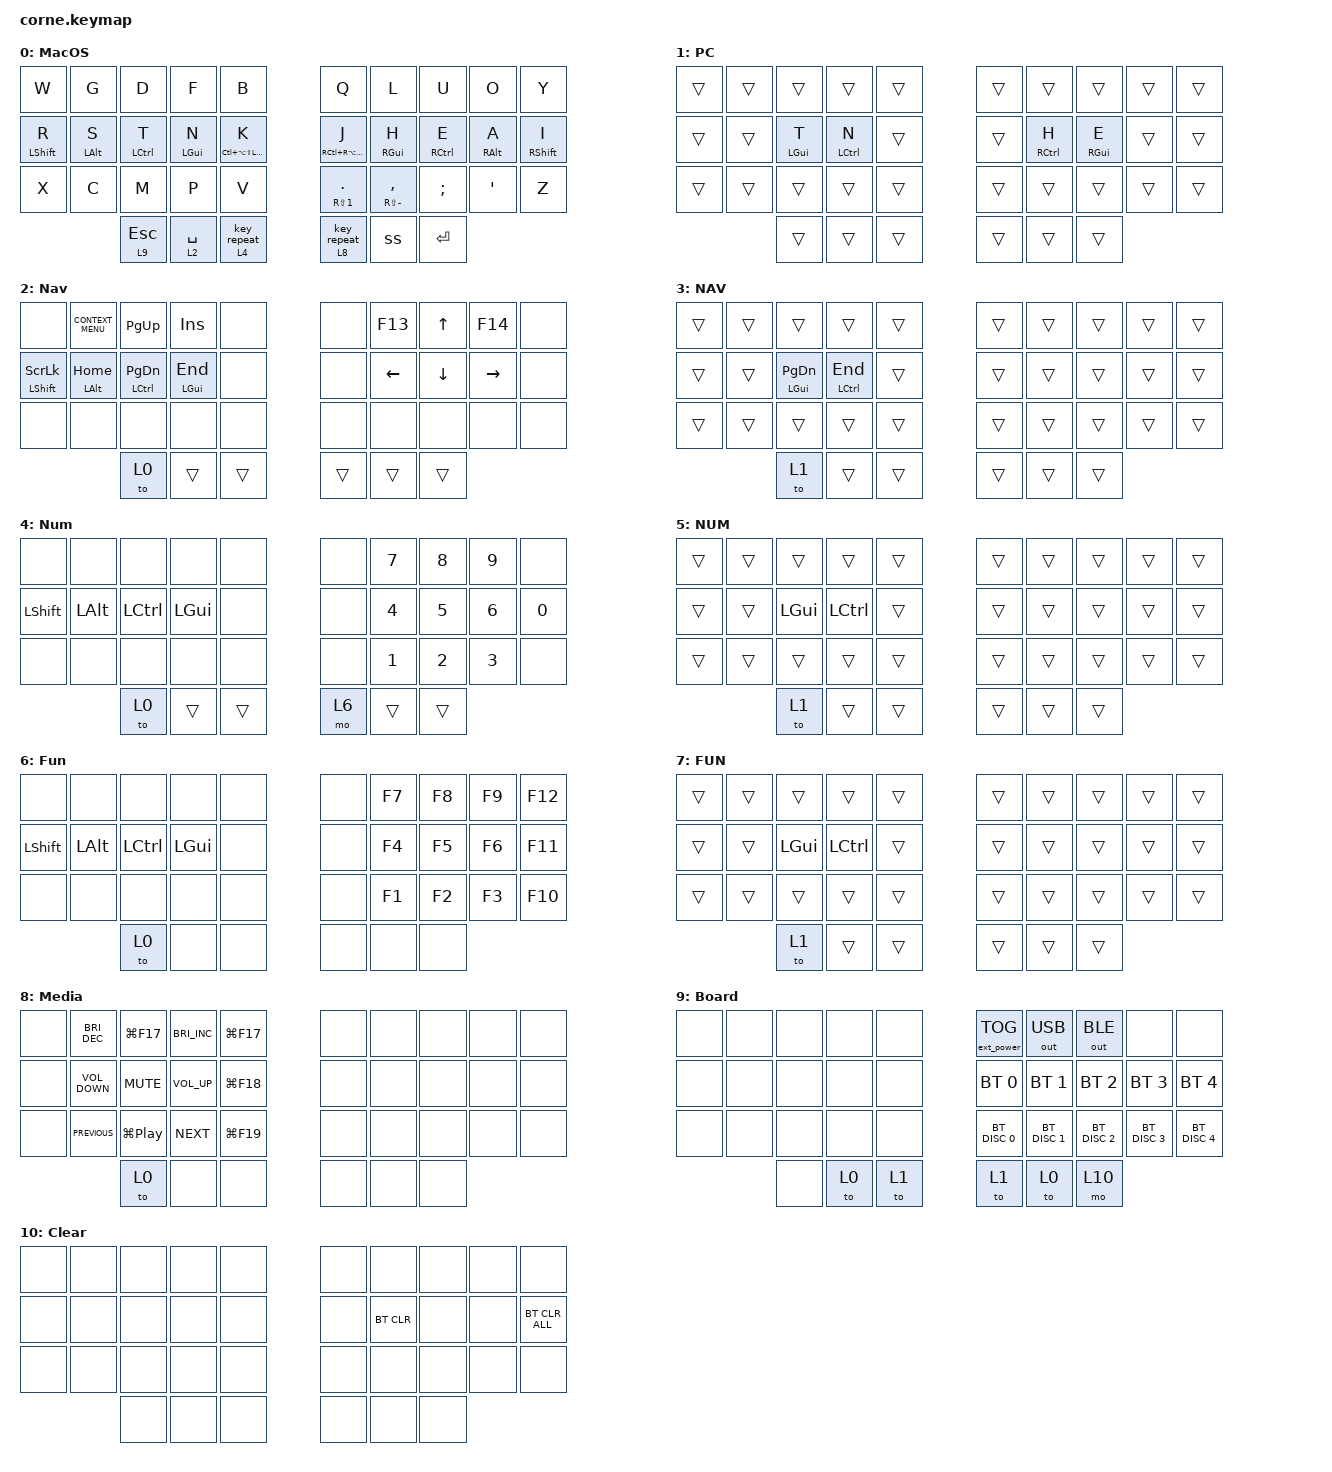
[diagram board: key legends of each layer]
/*
 * Copyright (c) 2020 The ZMK Contributors
 *
 * SPDX-License-Identifier: MIT
 */

#include <behaviors.dtsi>
#include <dt-bindings/zmk/bt.h>
#include <dt-bindings/zmk/ext_power.h>
#include <dt-bindings/zmk/keys.h>
#include <dt-bindings/zmk/outputs.h>

#define DEFAULT_L 0

#include "zmk-helpers/key-labels/36.h"                                      // Source key-labels.

#define KEYS_L LT0 LT1 LT2 LT3 LT4 LM0 LM1 LM2 LM3 LM4 LB0 LB1 LB2 LB3 LB4  // Left-hand keys.
#define KEYS_R RT0 RT1 RT2 RT3 RT4 RM0 RM1 RM2 RM3 RM4 RB0 RB1 RB2 RB3 RB4  // Right-hand keys.
#define THUMBS LH2 LH1 LH0 RH0 RH1 RH2                                      // Thumb keys.

/ {
    chosen { zmk,matrix_transform = &five_column_transform; };

    behaviors {
        hm: homerow_mod {
            compatible = "zmk,behavior-hold-tap";
            label = "Homerow Mod";
            #binding-cells = <2>;
            tapping-term-ms = <150>;
            flavor = "tap-preferred";
            bindings = <&kp>, <&kp>;

            quick-tap-ms = <200>;
            retro-tap;
        };

        hml: homerow_mod_left {
            compatible = "zmk,behavior-hold-tap";
            label = "Homerow Mod Left";
            #binding-cells = <2>;
            flavor = "balanced";
            bindings = <&kp>, <&kp>;

            tapping-term-ms = <280>;
            quick-tap-ms = <175>;
            require-prior-idle-ms = <150>;
            hold-trigger-key-positions = <KEYS_R THUMBS>;
            hold-trigger-on-release;
        };

        hmr: homerow_mod_right {
            compatible = "zmk,behavior-hold-tap";
            label = "Homerow Mod Right";
            #binding-cells = <2>;
            flavor = "balanced";
            bindings = <&kp>, <&kp>;

            tapping-term-ms = <280>;
            quick-tap-ms = <175>;
            require-prior-idle-ms = <150>;
            hold-trigger-key-positions = <KEYS_L THUMBS>;
            hold-trigger-on-release;
        };

        htc: hold_tap_combo {
            compatible = "zmk,behavior-hold-tap";
            label = "Hold-Tap combo";
            bindings = <&kp>, <&kp>;

            #binding-cells = <2>;
            tapping-term-ms = <200>;
            require-prior-idle-ms = <30>;
            flavor = "tap-preferred";
        };

        lts: layer_tap_sticky {
            compatible = "zmk,behavior-hold-tap";
            label = "Layer-Tap Sticky";
            bindings = <&mo>, <&sk>;

            #binding-cells = <2>;
            tapping-term-ms = <200>;
        };

        ss: super_shift {
            compatible = "zmk,behavior-tap-dance";
            label = "Super Shift";
            #binding-cells = <0>;
            bindings = <&lts 2 LEFT_SHIFT>, <&caps_word>, <&kp CAPSLOCK>;
        };

        hal: hold_arcane_left {
            compatible = "zmk,behavior-hold-tap";
            label = "Hold-Arcane Left";
            bindings = <&mo>, <&key_repeat>;

            #binding-cells = <2>;
            tapping-term-ms = <200>;
        };

        har: hold_arcane_right {
            compatible = "zmk,behavior-hold-tap";
            label = "Hold-Arcane Right";
            bindings = <&mo>, <&key_repeat>;

            #binding-cells = <2>;
            tapping-term-ms = <200>;
        };
    };

    macros {
        hyper: aacute {
            compatible = "zmk,behavior-macro";
            label = "AACUTE";
            #binding-cells = <0>;
            bindings = <&kp LC(LA(LS(LEFT_GUI)))>;
        };

        eacute: eacute {
            compatible = "zmk,behavior-macro";
            label = "EACUTE";
            #binding-cells = <0>;
            bindings = <&none &kp E>;
        };

        iacute: iacute {
            compatible = "zmk,behavior-macro";
            label = "IACUTE";
            #binding-cells = <0>;
            bindings = <&none &kp I>;
        };

        oacute: oacute {
            compatible = "zmk,behavior-macro";
            label = "OACUTE";
            #binding-cells = <0>;
            bindings = <&none &kp O>;
        };

        uacute: uacute {
            compatible = "zmk,behavior-macro";
            label = "UACUTE";
            #binding-cells = <0>;
            bindings = <&none &kp U>;
        };

        acirc: acirc {
            compatible = "zmk,behavior-macro";
            label = "ACIRC";
            #binding-cells = <0>;
            bindings = <&none &kp A>;
        };

        ecirc: ecirc {
            compatible = "zmk,behavior-macro";
            label = "ECIRC";
            #binding-cells = <0>;
            bindings = <&none &kp E>;
        };

        icirc: icirc {
            compatible = "zmk,behavior-macro";
            label = "ICIRC";
            #binding-cells = <0>;
            bindings = <&none &kp I>;
        };

        ocirc: ocirc {
            compatible = "zmk,behavior-macro";
            label = "OCIRC";
            #binding-cells = <0>;
            bindings = <&none &kp O>;
        };

        ucirc: ucirc {
            compatible = "zmk,behavior-macro";
            label = "UCIRC";
            #binding-cells = <0>;
            bindings = <&none &kp U>;
        };

        atilde: atilde {
            compatible = "zmk,behavior-macro";
            label = "ATILDE";
            #binding-cells = <0>;
            bindings = <&none &kp A>;
        };

        otilde: otilde {
            compatible = "zmk,behavior-macro";
            label = "OTILDE";
            #binding-cells = <0>;
            bindings = <&none &kp O>;
        };

        ao: ao {
            compatible = "zmk,behavior-macro";
            label = "AO";
            #binding-cells = <0>;
            bindings = <&none &kp A &kp O>;
        };

        oes: oes {
            compatible = "zmk,behavior-macro";
            label = "OES";
            #binding-cells = <0>;
            bindings = <&none &kp O &kp E &kp S>;
        };

        vim_word: vim_word {
            compatible = "zmk,behavior-macro";
            label = "VIM_WORD";
            #binding-cells = <0>;
            bindings = <&kp LA(RIGHT) &kp LA(RIGHT) &kp LA(LEFT)>;
        };

        previous_line_enter: previous_line_enter {
            compatible = "zmk,behavior-macro";
            label = "PREVIOUS_LINE_ENTER";
            #binding-cells = <0>;
            bindings = <&kp LG(LEFT) &kp LS(ENTER) &kp LEFT>;
        };

        vim_I: vim_I {
            compatible = "zmk,behavior-macro";
            label = "VIM_I";
            #binding-cells = <0>;
            bindings = <&kp LG(LEFT_ARROW) &to 0>;
        };

        aes: aes {
            compatible = "zmk,behavior-macro";
            label = "AES";
            #binding-cells = <0>;
            bindings = <&none &kp A &kp E &kp S>;
        };

        esc_0: esc_0 {
            compatible = "zmk,behavior-macro";
            label = "ESC_0";
            #binding-cells = <0>;
            bindings = <&to 0 &kp ESCAPE>;
        };

        next_line_enter: next_line_enter {
            compatible = "zmk,behavior-macro";
            label = "NEXT_LINE_ENTER";
            #binding-cells = <0>;
            bindings = <&kp LG(RIGHT) &kp ENTER>;
        };

        thic_arrow: thic_arrow {
            compatible = "zmk,behavior-macro";
            #binding-cells = <0>;
            bindings = <&kp EQUAL &kp GT>;
            label = "THIC_ARROW";
        };

        thin_arrow: thin_arrow {
            compatible = "zmk,behavior-macro";
            #binding-cells = <0>;
            bindings = <&kp MINUS &kp GT>;
            label = "THIN_ARROW";
        };

        agrave: agrave {
            compatible = "zmk,behavior-macro";
            #binding-cells = <0>;
            bindings = <&none &kp A>;
            label = "AGRAVE";
        };

        gte: gte {
            compatible = "zmk,behavior-macro";
            #binding-cells = <0>;
            bindings = <&kp GT &kp EQUAL>;
            label = "GTE";
        };

        lte: lte {
            compatible = "zmk,behavior-macro";
            #binding-cells = <0>;
            bindings = <&kp LT &kp EQUAL>;
            label = "LTE";
        };
    };

    combos {
        compatible = "zmk,combos";

        combo_euro_dollar {
            bindings = <&htc RA(NUMBER_4) RS(NUMBER_4)>;
            key-positions = <4 14>;
            layers = <0 4>;
        };

        combo_pc_euro_dollar {
            bindings = <&htc RA(NUMBER_4) RA(E)>;
            key-positions = <4 14>;
            layers = <1 5>;
        };

        combo_at_caret {
            bindings = <&htc RS(RIGHT_BRACKET) RA(NUMBER_2)>;
            key-positions = <14 24>;
            layers = <0 4 1 5>;
        };

        combo_colon_semicolon {
            bindings = <&htc RS(COMMA) RS(PERIOD)>;
            key-positions = <3 13>;
            layers = <0 4 1 5>;
        };

        combo_apostrophe_quote {
            bindings = <&htc RS(NUMBER_2) BACKSLASH>;
            key-positions = <13 23>;
            layers = <0 4 1 5>;
        };

        combo_plus_equals {
            bindings = <&htc RS(NUMBER_0) MINUS>;
            key-positions = <12 2>;
            layers = <0 4 1 5>;
        };

        combo_minus_underscore {
            bindings = <&htc RS(SLASH) SLASH>;
            key-positions = <12 22>;
            layers = <0 4 1 5>;
        };

        combo_asterisk_percentage {
            bindings = <&htc RS(NUMBER_5) RS(BACKSLASH)>;
            key-positions = <1 11>;
            layers = <0 4 1 5>;
        };

        combo_slash_backslash {
            bindings = <&htc RS(RA(NUMBER_7)) RS(NUMBER_7)>;
            key-positions = <11 21>;
            layers = <0 4>;
        };

        combo_pc_slash_backslash {
            bindings = <&htc RA(EQUAL) RS(NUMBER_7)>;
            key-positions = <11 21>;
            layers = <1 5>;
        };

        combo_ampersand_hash {
            bindings = <&htc RS(NUMBER_3) RS(NUMBER_6)>;
            key-positions = <5 15>;
            layers = <0 4 1 5>;
        };

        combo_tilde_pipe {
            bindings = <&htc RA(NUMBER_7) RA(RIGHT_BRACKET)>;
            key-positions = <15 25>;
            layers = <0 4>;
        };

        combo_pc_tilde_pipe {
            bindings = <&htc RA(BACKSLASH) RA(RIGHT_BRACKET)>;
            key-positions = <15 25>;
            layers = <1 5>;
        };

        combo_left_parenth_brace {
            bindings = <&htc RS(RA(NUMBER_8)) RS(NUMBER_8)>;
            key-positions = <6 16>;
            layers = <0 4>;
        };

        combo_pc_left_parenth_brace {
            bindings = <&htc RA(NUMBER_7) RS(NUMBER_8)>;
            key-positions = <16 6>;
            layers = <1 5>;
        };

        combo_left_bracket_lesser {
            bindings = <&htc GRAVE RA(NUMBER_8)>;
            key-positions = <16 26>;
            layers = <0 4 1 5>;
        };

        combo_right_parenth_brace {
            bindings = <&htc RA(RS(NUMBER_9)) RS(NUMBER_9)>;
            key-positions = <7 17>;
            layers = <0 4>;
        };

        combo_pc_right_parenth_brace {
            bindings = <&htc RA(NUMBER_0) RS(NUMBER_9)>;
            key-positions = <7 17>;
            layers = <1 5>;
        };

        combo_right_bracket_greater {
            bindings = <&htc RS(GRAVE) RA(NUMBER_9)>;
            key-positions = <17 27>;
            layers = <0 4 1 5>;
        };

        combo_grave_infinity {
            bindings = <&htc RA(NUMBER_5) EQUAL>;
            key-positions = <8 18>;
            layers = <0 4 1 5>;
        };

        combo_tab {
            bindings = <&kp TAB>;
            key-positions = <13 12>;
            require-prior-idle-ms = <30>;
            layers = <0 1 2 3 4 5>;
        };

        combo_tab_back {
            bindings = <&kp RS(TAB)>;
            key-positions = <12 11>;
            layers = <0 1 2 3 4 5>;
            require-prior-idle-ms = <30>;
        };

        combo_backspace {
            bindings = <&kp BACKSPACE>;
            key-positions = <16 17>;
            layers = <0 1 2 3 4 5>;
            require-prior-idle-ms = <30>;
        };

        combo_delete {
            bindings = <&kp DELETE>;
            key-positions = <17 18>;
            require-prior-idle-ms = <30>;
            layers = <0 1 2 3 4 5>;
        };

        combo_lesseror_trademark {
            bindings = <&mt RA(BACKSLASH) RA(GRAVE)>;
            key-positions = <18 28>;
            layers = <0 4>;
        };

        combo_greateror_copyright {
            bindings = <&mt RA(NUMBER_1) RA(RS(GRAVE))>;
            key-positions = <19 29>;
            layers = <0 4>;
        };

        combo_nav_layer {
            bindings = <&tog 2>;
            key-positions = <16 18>;
            layers = <0 1 4 5>;
            require-prior-idle-ms = <50>;
        };

        combo_num_layer {
            bindings = <&tog 4>;
            key-positions = <26 28>;
            require-prior-idle-ms = <50>;
            layers = <0 1 2 3>;
        };
    };

    keymap {
        compatible = "zmk,keymap";

        macos_layer {
            label = "MacOS";
            bindings = <
  &kp W              &kp G            &kp D                &kp F            &kp B                          &kp Q                         &kp L                &kp U                 &kp O             &kp Y
  &hml LEFT_SHIFT R  &hml LEFT_ALT S  &hml LEFT_CONTROL T  &hml LEFT_GUI N  &hml LC(LA(LS(LEFT_GUI))) K    &hmr RC(RA(RS(RIGHT_GUI))) J  &hmr RIGHT_GUI H     &hmr RIGHT_CONTROL E  &hmr RIGHT_ALT A  &hmr RIGHT_SHIFT I
  &kp X              &kp C            &kp M                &kp P            &kp V                          &mt RS(NUMBER_1) PERIOD       &mt RS(MINUS) COMMA  &kp SEMICOLON         &kp APOSTROPHE    &kp Z
                                      &lt 9 ESCAPE         &lt 2 SPACE      &hal 4 0                       &har 8 0                      &ss                  &kp ENTER
            >;
        };

        pc_layer {
            label = "PC";
            bindings = <
  &trans  &trans  &trans           &trans               &trans    &trans  &trans                &trans            &trans  &trans
  &trans  &trans  &hml LEFT_GUI T  &hml LEFT_CONTROL N  &trans    &trans  &hmr RIGHT_CONTROL H  &hmr RIGHT_GUI E  &trans  &trans
  &trans  &trans  &trans           &trans               &trans    &trans  &trans                &trans            &trans  &trans
                  &trans           &trans               &trans    &trans  &trans                &trans
            >;
        };

        nav_layer {
            bindings = <
  &none                       &kp K_CONTEXT_MENU  &kp PAGE_UP                  &kp INSERT         &none     &none   &kp F13         &kp UP_ARROW    &kp F14          &none
  &hml LEFT_SHIFT SCROLLLOCK  &hml LEFT_ALT HOME  &hml LEFT_CONTROL PAGE_DOWN  &hml LEFT_GUI END  &none     &none   &kp LEFT_ARROW  &kp DOWN_ARROW  &kp RIGHT_ARROW  &none
  &none                       &none               &none                        &none              &none     &none   &none           &none           &none            &none
                                                  &to 0                        &trans             &trans    &trans  &trans          &trans
            >;

            label = "Nav";
        };

        pc_nav_layer {
            bindings = <
  &trans  &trans  &trans                   &trans                 &trans    &trans  &trans  &trans  &trans  &trans
  &trans  &trans  &hml LEFT_GUI PAGE_DOWN  &hml LEFT_CONTROL END  &trans    &trans  &trans  &trans  &trans  &trans
  &trans  &trans  &trans                   &trans                 &trans    &trans  &trans  &trans  &trans  &trans
                  &to 1                    &trans                 &trans    &trans  &trans  &trans
            >;

            label = "NAV";
        };

        num_layer {
            bindings = <
  &none           &none         &none             &none         &none     &none  &kp NUMBER_7  &kp NUMBER_8  &kp NUMBER_9  &none
  &kp LEFT_SHIFT  &kp LEFT_ALT  &kp LEFT_CONTROL  &kp LEFT_GUI  &none     &none  &kp NUMBER_4  &kp NUMBER_5  &kp NUMBER_6  &kp NUMBER_0
  &none           &none         &none             &none         &none     &none  &kp NUMBER_1  &kp NUMBER_2  &kp NUMBER_3  &none
                                &to 0             &trans        &trans    &mo 6  &trans        &trans
            >;

            label = "Num";
        };

        pc_num_layer {
            bindings = <
  &trans  &trans  &trans        &trans            &trans    &trans  &trans  &trans  &trans  &trans
  &trans  &trans  &kp LEFT_GUI  &kp LEFT_CONTROL  &trans    &trans  &trans  &trans  &trans  &trans
  &trans  &trans  &trans        &trans            &trans    &trans  &trans  &trans  &trans  &trans
                  &to 1         &trans            &trans    &trans  &trans  &trans
            >;

            label = "NUM";
        };

        fun_layer {
            bindings = <
  &none           &none         &none             &none         &none    &none  &kp F7  &kp F8  &kp F9  &kp F12
  &kp LEFT_SHIFT  &kp LEFT_ALT  &kp LEFT_CONTROL  &kp LEFT_GUI  &none    &none  &kp F4  &kp F5  &kp F6  &kp F11
  &none           &none         &none             &none         &none    &none  &kp F1  &kp F2  &kp F3  &kp F10
                                &to 0             &none         &none    &none  &none   &none
            >;

            label = "Fun";
        };

        pc_fun_layer {
            label = "FUN";
            bindings = <
  &trans  &trans  &trans        &trans            &trans    &trans  &trans  &trans  &trans  &trans
  &trans  &trans  &kp LEFT_GUI  &kp LEFT_CONTROL  &trans    &trans  &trans  &trans  &trans  &trans
  &trans  &trans  &trans        &trans            &trans    &trans  &trans  &trans  &trans  &trans
                  &to 1         &trans            &trans    &trans  &trans  &trans
            >;
        };

        media_layer {
            bindings = <
  &none  &kp C_BRIGHTNESS_DEC  &kp LG(F17)           &kp C_BRIGHTNESS_INC  &kp LG(F17)    &none  &none  &none  &none  &none
  &none  &kp C_VOLUME_DOWN     &kp C_MUTE            &kp C_VOLUME_UP       &kp LG(F18)    &none  &none  &none  &none  &none
  &none  &kp C_PREVIOUS        &kp LG(C_PLAY_PAUSE)  &kp C_NEXT            &kp LG(F19)    &none  &none  &none  &none  &none
                               &to 0                 &none                 &none          &none  &none  &none
            >;

            label = "Media";
        };

        board_layer {
            bindings = <
  &none  &none  &none  &none  &none    &ext_power EP_TOG  &out OUT_USB   &out OUT_BLE   &none          &none
  &none  &none  &none  &none  &none    &bt BT_SEL 0       &bt BT_SEL 1   &bt BT_SEL 2   &bt BT_SEL 3   &bt BT_SEL 4
  &none  &none  &none  &none  &none    &bt BT_DISC 0      &bt BT_DISC 1  &bt BT_DISC 2  &bt BT_DISC 3  &bt BT_DISC 4
                &none  &to 0  &to 1    &to 1              &to 0          &mo 10
            >;

            label = "Board";
        };

        clear_layer {
            bindings = <
  &none  &none  &none  &none  &none    &none  &none       &none  &none  &none
  &none  &none  &none  &none  &none    &none  &bt BT_CLR  &none  &none  &bt BT_CLR_ALL
  &none  &none  &none  &none  &none    &none  &none       &none  &none  &none
                &none  &none  &none    &none  &none       &none
            >;

            label = "Clear";
        };
    };

    conditional_layers {
        compatible = "zmk,conditional-layers";

        pc_navigation {
            if-layers = <1 2>;
            then-layer = <3>;
        };

        pc_numbers {
            if-layers = <1 4>;
            then-layer = <5>;
        };

        pc_functions {
            if-layers = <1 6>;
            then-layer = <7>;
        };
    };
};
